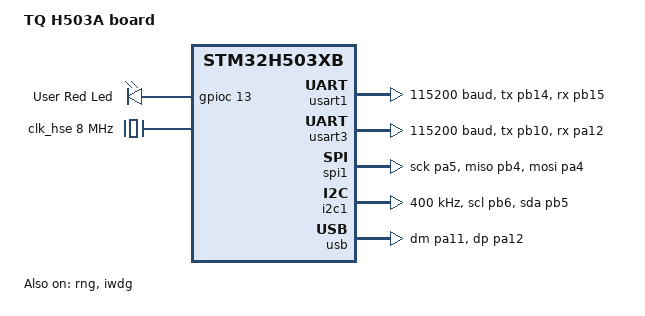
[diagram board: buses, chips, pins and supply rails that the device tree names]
/*
 * Copyright (c) 2025 MA Junyi
 *
 * SPDX-License-Identifier: Apache-2.0
 */

/dts-v1/;
#include <st/h5/stm32h503Xb.dtsi>
#include <st/h5/stm32h503cbtx-pinctrl.dtsi>


/ {
	model = "TQ H503A board";
	compatible = "embedsky,tq-h503a";

	#address-cells = <1>;
	#size-cells = <1>;

	chosen {
		zephyr,console = &usart1;
		zephyr,shell-uart = &usart1;
		zephyr,sram = &sram0;
		zephyr,flash = &flash0;
	};

	leds: leds {
		compatible = "gpio-leds";

		led_0: led_0 {
			gpios = <&gpioc 13 GPIO_ACTIVE_HIGH>;
			label = "User Red Led";
		};
	};

	aliases {
		led0 = &led_0;
		watchdog0 = &iwdg;
	};
};

&clk_hse {
	clock-frequency = <DT_FREQ_M(8)>;
	status = "okay";
};

&pll {
	div-m = <1>;
	mul-n = <125>;
	div-p = <4>;
	div-q = <2>;
	div-r = <2>;
	clocks = <&clk_hse>;
	status = "okay";
};

&rcc {
	clocks = <&pll>;
	clock-frequency = <DT_FREQ_M(250)>;
	ahb-prescaler = <1>;
	apb1-prescaler = <1>;
	apb2-prescaler = <1>;
	apb3-prescaler = <1>;
};

&usart1 {
	pinctrl-0 = <&usart1_tx_pb14 &usart1_rx_pb15>;
	pinctrl-names = "default";
	current-speed = <115200>;
	status = "okay";
};

&usart3 {
	pinctrl-0 = <&usart3_tx_pb10 &usart3_rx_pa12>;
	pinctrl-names = "default";
	current-speed = <115200>;
	status = "okay";
};

&spi1 {
	pinctrl-0 = <&spi1_sck_pa5 &spi1_miso_pb4 &spi1_mosi_pa4>;
	pinctrl-names = "default";
	cs-gpios = <&gpioa 15 GPIO_ACTIVE_LOW>;
	status = "okay";
};

&i2c1 {
	pinctrl-0 = <&i2c1_scl_pb6 &i2c1_sda_pb5>;
	pinctrl-names = "default";
	clock-frequency = <I2C_BITRATE_FAST>;
	status = "okay";
};

zephyr_udc0: &usb {
	pinctrl-0 = <&usb_dm_pa11 &usb_dp_pa12>;
	pinctrl-names = "default";
	status = "okay";
};

&clk_csi {
	status = "okay";
};

&clk_hsi {
	status = "okay";
};

&clk_hsi48 {
	status = "okay";
};

&rng {
	status = "okay";
};

&iwdg {
	status = "okay";
};
